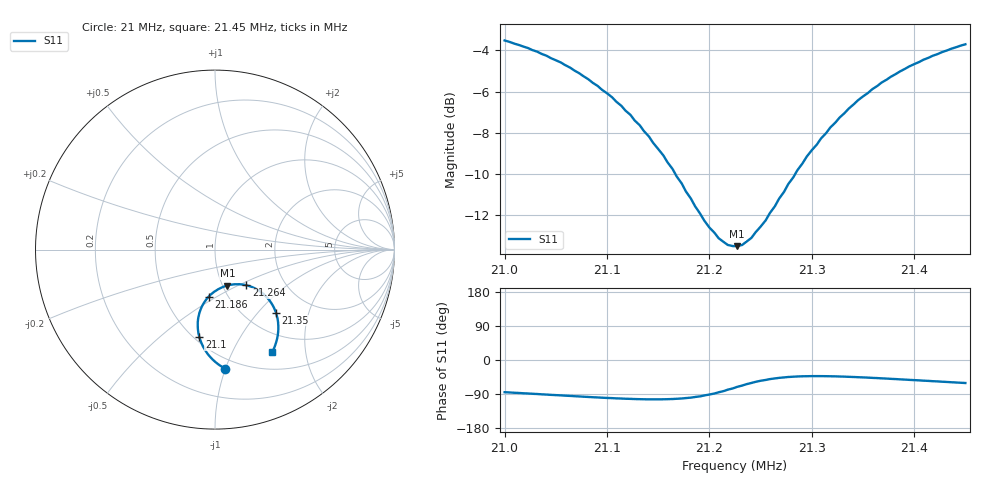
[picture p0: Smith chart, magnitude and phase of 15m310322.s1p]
# MHz S MA R 50
!  freq  S11
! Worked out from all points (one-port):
!   100 points, 21 MHz to 21.45 MHz, reference 50 ohm
!   lowest |S11| = -13.5 dB at 21.227 MHz (marker M1), VSWR 1.54, Z = 52.7 - j22.1 ohm
!   |S11| at or under -10 dB: 21.167 MHz to 21.284 MHz (116.9 kHz wide, 0.551 % of centre)
!   S11 on the Smith chart (normalised r, x): 21 MHz: 0.42, -1.00; 21.1 MHz: 0.53, -0.69; 21.186 MHz: 0.82, -0.46; 21.264 MHz: 1.29, -0.55; 21.35 MHz: 1.36, -1.25; 21.45 MHz: 0.73, -1.45
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21  0.6671 -85.0
21.032  0.6263 -89.8
21.059  0.5816 -94.1
21.077  0.5465 -96.9
21.1  0.4968 -100.1
21.114  0.4632 -101.7
21.141  0.3902 -103.8
21.155  0.3513 -103.7
21.173  0.3002 -101.5
21.186  0.2645 -97.6
21.195  0.2441 -93.6
21.209  0.2213 -85.2
21.218  0.2131 -78.3
21.227  0.2117 -71.0
21.232  0.2131 -67.5
21.241  0.2216 -60.6
21.255  0.2445 -52.6
21.264  0.2645 -48.6
21.282  0.311 -44.1
21.295  0.3487 -42.8
21.309  0.3861 -42.6
21.327  0.4334 -43.5
21.341  0.4673 -44.9
21.35  0.4881 -45.9
21.373  0.5358 -49.0
21.395  0.5768 -52.4
21.423  0.6185 -56.5
21.45  0.6529 -60.7
